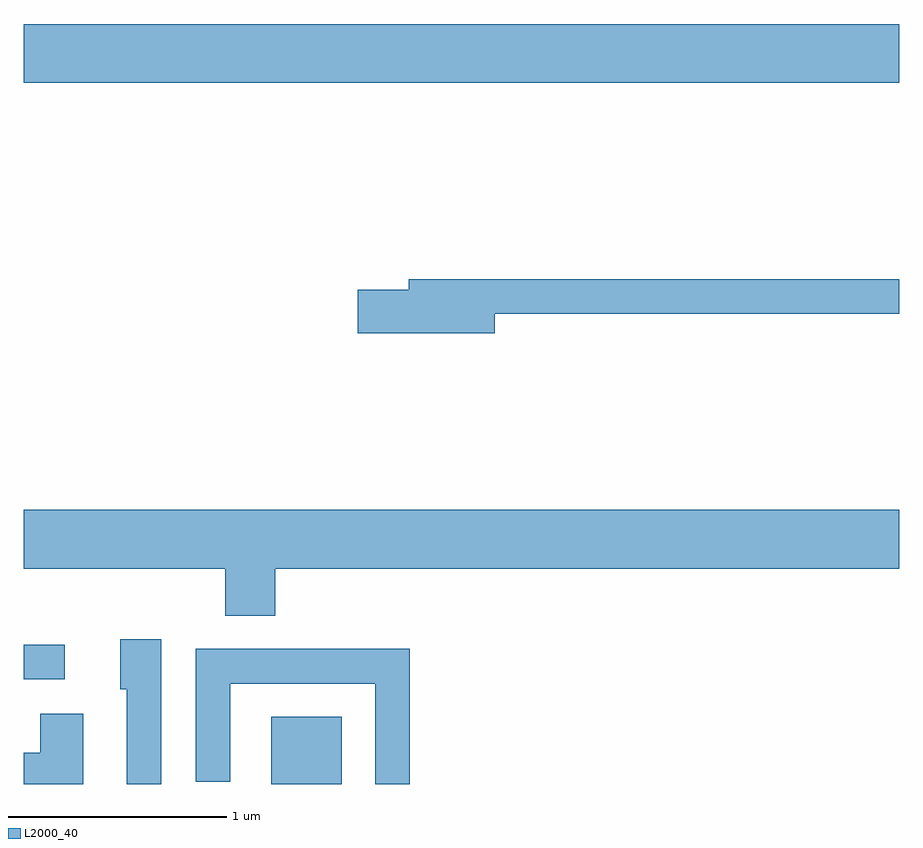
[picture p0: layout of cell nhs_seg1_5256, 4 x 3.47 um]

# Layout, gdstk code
import gdstk
lib = gdstk.Library(unit=1e-6, precision=1e-09)
def R(c, l, rs):  # rectangles x0, y0, x1, y1
    for r in rs: c.add(gdstk.rectangle(r[:2], r[2:], *l))
def P(c, l, *ps):  # polygons
    for p in ps: c.add(gdstk.Polygon(p, *l))
L2000_40 = (2000, 40)

nhs_seg1_5256 = lib.new_cell('nhs_seg1_5256')
R(nhs_seg1_5256, L2000_40, [(344.741,889.712,345.064,890.019), (343.611,890.191,343.798,890.349), (343.611,892.916,347.611,893.184)])
P(nhs_seg1_5256, L2000_40, [(345.764,891.861),(347.611,891.861),(347.611,892.019),(345.371,892.019),(345.371,891.969),(345.136,891.969),(345.136,891.771),(345.764,891.771)],
  [(344.759,890.696),(347.611,890.696),(347.611,890.964),(343.611,890.964),(343.611,890.696),(344.531,890.696),(344.531,890.481),(344.759,890.481)],
  [(344.239,890.374),(344.051,890.374),(344.051,890.146),(344.081,890.146),(344.081,889.712),(344.239,889.712)],
  [(345.374,890.329),(344.396,890.329),(344.396,889.723),(344.554,889.723),(344.554,890.171),(345.216,890.171),(345.216,889.712),(345.374,889.712)],
  [(343.884,890.034),(343.686,890.034),(343.686,889.854),(343.611,889.854),(343.611,889.712),(343.884,889.712)])

lib.write_gds('nhs_seg1_5256.gds')
